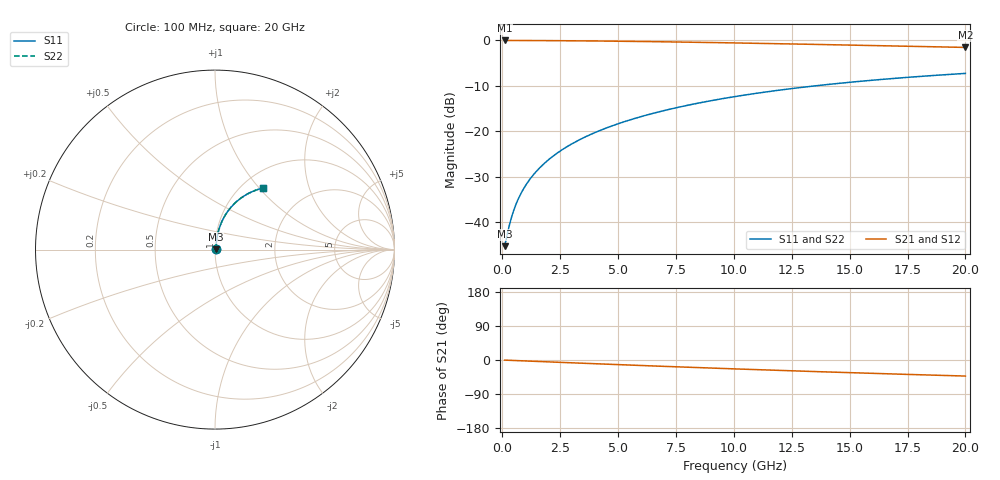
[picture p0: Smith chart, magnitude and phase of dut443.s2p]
! Touchstone file exported from HFSS 2024.1.0
!  File:  C:/UserFiles/LocalFiles/RDL_TSV_Batchsim/temp_RDL_top_443_1779676837.aedt
!  Generated:  10:42:52 AM May 25, 2026
!  Design:  RDL_top
!  Project:  temp_RDL_top_443_1779676837
!  Setup:  Setup1
!  Solution:  Sweep
! Variables:
!  dtsv = 10.80580581um
!  hbump = 3um
!  htsv = 97.17um
!  ldown = 100um
!  lrdl = 560.65um
!  p = 40
!  p1 = 47.79um
!  rhole = 1um
!  t = 450um
!  tdown = 3.915915916um
!  trdl = 2.65um
!  wdown = 15.38538539um
!  wrdl = 16.1um
# GHz S MA R 50.000000
! Terminal data exported
! Port[1] = Box2_T1
! Port[2] = Box2_T2
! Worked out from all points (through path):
!   200 points, 100 MHz to 20 GHz, reference 50 ohm
!   highest |S21| = -0.04 dB at 100 MHz (marker M1); lowest = -1.6 dB at 20 GHz (marker M2)
!   group delay of S21, straight-line fit = 5.88 ps
!   lowest |S11| = -45.3 dB at 100 MHz (marker M3), VSWR 1.01, Z = 50.5 + j0.26 ohm
!   |S11| at or under -10 dB: start of sweep to 13.55 GHz
!   |S22| runs from -45.3 to -7.3 dB; largest |S21 - S12| = 2.7e-15
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0.1  0.005457 28.1  0.9952 -0.3  0.9952 -0.3  0.005457 28.1
! Gamma 0 0 0 0
! Port Impedance 50 0 50 0
0.3  0.009154 56.5  0.9949 -0.8  0.9949 -0.8  0.009154 56.5
0.4  0.01137 62.6  0.9948 -1.0  0.9948 -1.0  0.01137 62.6
0.5  0.01365 66.6  0.9946 -1.3  0.9946 -1.3  0.01365 66.6
0.6  0.01595 69.4  0.9944 -1.5  0.9944 -1.5  0.01595 69.4
0.7  0.01826 71.5  0.9942 -1.8  0.9942 -1.8  0.01826 71.5
0.9  0.02289 74.3  0.9937 -2.3  0.9937 -2.3  0.02289 74.3
1.2  0.02987 76.9  0.9931 -3.0  0.9931 -3.0  0.02987 76.9
1.4  0.03456 78.0  0.9926 -3.5  0.9926 -3.5  0.03456 78.0
1.7  0.04162 79.1  0.9919 -4.2  0.9919 -4.2  0.04162 79.1
2.2  0.05347 80.0  0.9904 -5.5  0.9904 -5.5  0.05347 80.0
2.8  0.06779 80.3  0.9882 -6.9  0.9882 -6.9  0.0678 80.4
3.5  0.08461 80.1  0.985 -8.6  0.985 -8.6  0.08462 80.2
4.2  0.1015 79.6  0.9813 -10.3  0.9813 -10.3  0.1015 79.6
5  0.1208 78.7  0.9764 -12.2  0.9764 -12.2  0.1209 78.7
5.9  0.1426 77.4  0.9702 -14.3  0.9702 -14.3  0.1427 77.5
6.8  0.1643 76.0  0.9634 -16.4  0.9634 -16.4  0.1644 76.1
8.4  0.2024 73.3  0.95 -19.9  0.95 -19.9  0.2025 73.3
10.1  0.2417 70.2  0.9345 -23.6  0.9345 -23.6  0.2418 70.2
13.4  0.3133 64.0  0.9019 -30.3  0.9019 -30.3  0.3135 64.0
16.7  0.377 57.9  0.868 -36.6  0.868 -36.6  0.3773 58.0
20  0.4324 52.3  0.8343 -42.4  0.8343 -42.4  0.4327 52.3
